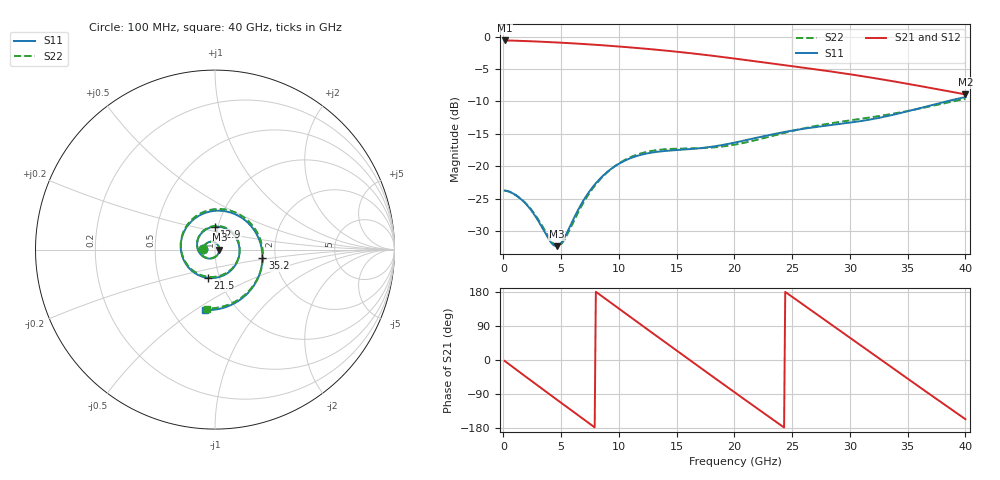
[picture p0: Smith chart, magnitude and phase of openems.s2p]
! D_s8_stitch_1p0: L1 (ref L2) → L8 (ref L7), one GND via at 1 mm
! stackup: 8-layer 1.6 mm FR-4 (generic)
! ports: 1, 2
! openEMS 0.37.0, staircase, fine mesh (dfine 0.0175 mm), 1693692 cells
# Hz S RI R 50
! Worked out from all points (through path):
!   400 points, 100 MHz to 40 GHz, reference 50 ohm
!   highest |S21| = -0.59 dB at 100 MHz (marker M1); lowest = -8.9 dB at 40 GHz (marker M2)
!   group delay of S21, straight-line fit = 60.8 ps
!   lowest |S11| = -32.3 dB at 4.6 GHz (marker M3), VSWR 1.05, Z = 52.5 - j0.0144 ohm
!   |S11| at or under -10 dB: start of sweep to 38.32 GHz
!   |S22| runs from -32.3 to -9.6 dB; largest |S21 - S12| = 0.0022
!   S11 on the Smith chart (normalised r, x): 100 MHz: 0.88, +0.01; 12.9 GHz: 0.96, +0.25; 21.5 GHz: 0.88, -0.28; 35.2 GHz: 1.71, -0.17; 40 GHz: 0.72, -0.55
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1e8  -0.0649 0.00348  0.9333 -0.0375  0.9333 -0.0376  -0.0648 0.0035
2.5e9  -0.0112 0.0431  0.5023 -0.7708  0.5023 -0.7708  -0.0112 0.0439
4.6e9  0.0242 -0.000137  -0.2198 -0.8744  -0.2198 -0.8744  0.0244 0.00135
6.8e9  -0.0179 -0.049  -0.785 -0.3949  -0.7851 -0.3949  -0.0175 -0.047
8.5e9  -0.077 -0.0298  -0.8423 0.1663  -0.8424 0.1665  -0.0766 -0.0276
1.03e10  -0.0983 0.045  -0.5236 0.6505  -0.5234 0.6506  -0.0984 0.0476
1.16e10  -0.0659 0.1008  -0.142 0.8044  -0.1418 0.8043  -0.0663 0.1039
1.29e10  -0.00252 0.1277  0.2567 0.7554  0.2566 0.7551  -0.00321 0.1316
1.34e10  0.0251 0.1271  0.393 0.6855  0.3928 0.6854  0.0244 0.1314
1.5e10  0.1025 0.0853  0.6943 0.3212  0.694 0.3215  0.102 0.0909
1.65e10  0.1361 0.00953  0.7323 -0.106  0.7325 -0.1055  0.1365 0.016
1.84e10  0.1108 -0.0907  0.4544 -0.541  0.4551 -0.5412  0.1125 -0.0838
2.01e10  0.0372 -0.1482  0.034 -0.6749  0.0342 -0.6758  0.0396 -0.1418
2.15e10  -0.0418 -0.1573  -0.3011 -0.5768  -0.3017 -0.5776  -0.0392 -0.1515
2.41e10  -0.1677 -0.0713  -0.6027 -0.0649  -0.6035 -0.0642  -0.1662 -0.0663
2.67e10  -0.1752 0.0941  -0.3624 0.4327  -0.3617 0.4333  -0.1757 0.0996
2.95e10  -0.027 0.2122  0.1836 0.4869  0.1835 0.4864  -0.0296 0.2205
3.15e10  0.1169 0.1949  0.4388 0.2146  0.4382 0.2149  0.114 0.2067
3.34e10  0.2253 0.0975  0.4424 -0.1182  0.4428 -0.1173  0.2244 0.1128
3.52e10  0.2643 -0.0465  0.2542 -0.346  0.2557 -0.3459  0.2674 -0.0295
3.74e10  0.1911 -0.2335  -0.074 -0.3885  -0.0735 -0.3903  0.1994 -0.2183
4e10  -0.0539 -0.3374  -0.3279 -0.1452  -0.33 -0.1458  -0.0443 -0.3285
